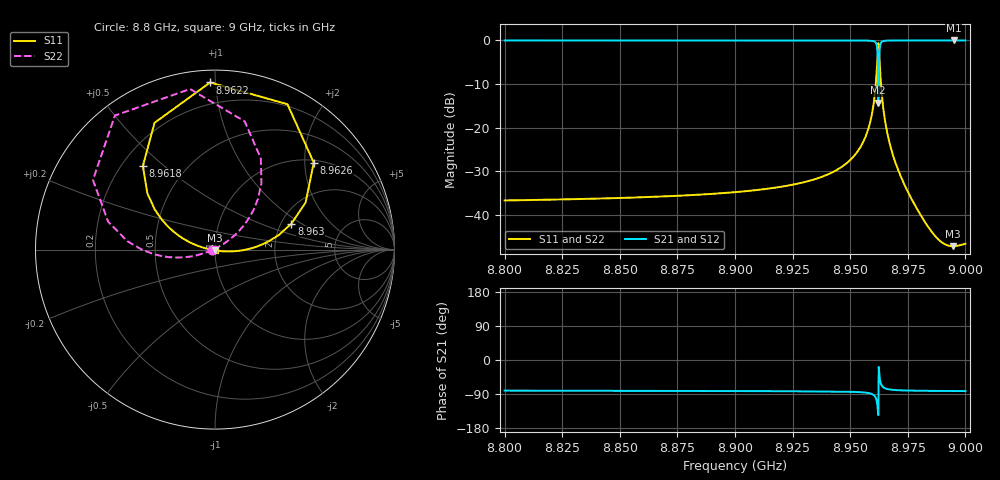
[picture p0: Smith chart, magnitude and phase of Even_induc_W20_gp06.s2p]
! Sonnet Data File
! From: emgraph Version : 16.52
! From Project: Resonator2_cp_varyW
! Data is De-embedded
! Data File Written: 10/07/2017 23:12:07
!< HDATE 10/07/2017 13:09:30
!< MDATE 10/07/2017 13:09:30
!< PARAMS
!< gap = 6.0
!< Length = 400.0
!< Pwid1 = 2000.0
!< Pwid2 = 2000.0
!< Air_gap = 12.0
!< Width = 20.0
!< END PARAMS
# GHZ S MA R 51.80000
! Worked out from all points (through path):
!   1001 points, 8.8 GHz to 9 GHz, reference 51.8 ohm
!   highest |S21| = 0.00 dB at 8.995 GHz (marker M1); lowest = -14.3 dB at 8.9622 GHz (marker M2)
!   lowest |S11| = -47.1 dB at 8.9946 GHz (marker M3), VSWR 1.01, Z = 51.7 - j0.451 ohm
!   |S11| at or under -10 dB: start of sweep to 8.9611 GHz; 8.963369 GHz to end of sweep
!   |S22| runs from -47.1 to -0.6 dB; largest |S21 - S12| = 0
!   S11 on the Smith chart (normalised r, x): 8.8 GHz: 0.97, -0.00; 8.9618 GHz: 0.28, +0.43; 8.9622 GHz: 0.07, +0.97; 8.9626 GHz: 1.06, +2.22; 8.963 GHz: 2.28, +0.83; 9 GHz: 1.00, -0.01
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8.8  0.01473 -171.1  0.9999 -80.9  0.9999 -80.9  0.01473 -170.7
!< P1 F=8.8 Eeff=(6.44629866 -2.9719e-5) Z0=(50.907433 1.17455e-4) R=0.0 C=0.0
!< P2 F=8.8 Eeff=(6.44629866 -2.9719e-5) Z0=(50.907433 1.17455e-4) R=0.0 C=0.0
8.8334  0.01531 -172.1  0.9999 -81.2  0.9999 -81.2  0.01531 -170.4
8.8668  0.01629 -173.5  0.9999 -81.6  0.9999 -81.6  0.01629 -169.7
8.9  0.01833 -175.7  0.9998 -82.0  0.9998 -82.0  0.01833 -168.4
8.9334  0.02521 179.8  0.9997 -82.7  0.9997 -82.7  0.02521 -165.2
8.9466  0.03612 175.9  0.9993 -83.5  0.9993 -83.5  0.03613 -163.0
8.9548  0.06241 171.3  0.9979 -85.0  0.9979 -85.0  0.06243 -161.6
8.9584  0.1088 166.7  0.9935 -87.8  0.9935 -87.8  0.1089 -162.8
8.9606  0.2307 157.9  0.9703 -94.9  0.9703 -94.9  0.2308 -169.0
8.9612  0.3398 150.6  0.9342 -101.4  0.9342 -101.4  0.34 -175.6
8.9618  0.6151 130.8  0.7625 -119.5  0.7625 -119.5  0.6154 165.3
8.9622  0.9316 91.7  0.1934 -145.6  0.1934 -145.6  0.9321 126.7
8.9626  0.7331 41.4  0.6344 -34.5  0.6344 -34.5  0.7335 77.0
8.963  0.45 18.8  0.8799 -54.8  0.8799 -54.8  0.4503 54.9
8.9634  0.3077 9.1  0.9456 -63.6  0.9456 -63.6  0.3078 45.8
8.964  0.2032 2.1  0.9765 -69.8  0.9765 -69.8  0.2033 39.7
8.9668  0.07196 -8.3  0.997 -77.5  0.997 -77.5  0.07201 33.9
8.972  0.0276 -16.7  0.9995 -80.1  0.9995 -80.1  0.02763 36.9
8.9808  0.009801 -35.5  0.9999 -81.2  0.9999 -81.2  0.009825 53.3
8.9946  0.004415 -99.1  1 -81.8  1 -81.8  0.004435 115.3
8.995  0.004417 -100.9  1 -81.9  1 -81.9  0.004436 117.2
9  0.004715 -120.0  1 -82.0  1 -82.0  0.004729 136.0
